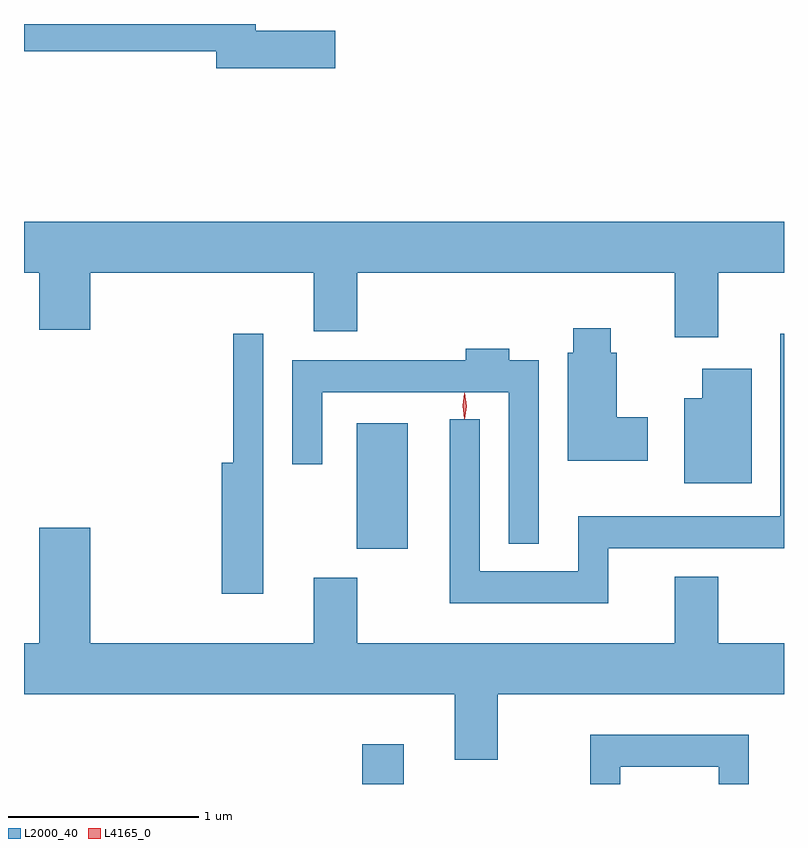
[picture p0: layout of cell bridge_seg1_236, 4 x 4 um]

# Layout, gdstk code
import gdstk
lib = gdstk.Library(unit=1e-6, precision=1e-09)
def R(c, l, rs):  # rectangles x0, y0, x1, y1
    for r in rs: c.add(gdstk.rectangle(r[:2], r[2:], *l))
def P(c, l, *ps):  # polygons
    for p in ps: c.add(gdstk.Polygon(p, *l))
L2000_40 = (2000, 40)
L4165_0 = (4165, 0)

bridge_seg1_236 = lib.new_cell('bridge_seg1_236')
R(bridge_seg1_236, L2000_40, [(836.156,896.884,836.374,897.094), (836.126,898.121,836.394,898.784)])
P(bridge_seg1_236, L2000_40, [(836.014,900.849),(835.594,900.849),(835.594,900.884),(834.375,900.884),(834.375,900.741),(835.386,900.741),(835.386,900.651),(836.014,900.651)],
  [(838.029,899.576),(838.375,899.576),(838.375,899.844),(834.375,899.844),(834.375,899.576),(834.456,899.576),(834.456,899.276),(834.724,899.276),(834.724,899.576),(835.901,899.576),(835.901,899.266),(836.129,899.266),(836.129,899.576),(837.801,899.576),(837.801,899.236),(838.029,899.236)],
  [(837.659,898.814),(837.494,898.814),(837.494,899.154),(837.464,899.154),(837.464,899.284),(837.266,899.284),(837.266,899.154),(837.236,899.154),(837.236,898.586),(837.659,898.586)],
  [(837.449,898.126),(838.375,898.126),(838.375,899.253),(838.356,899.253),(838.356,898.294),(837.291,898.294),(837.291,898.004),(836.774,898.004),(836.774,898.803),(836.616,898.803),(836.616,897.836),(837.449,897.836)],
  [(835.634,899.253),(835.476,899.253),(835.476,898.574),(835.416,898.574),(835.416,897.886),(835.634,897.886)],
  [(837.084,899.114),(836.929,899.114),(836.929,899.174),(836.701,899.174),(836.701,899.114),(835.786,899.114),(835.786,898.568),(835.944,898.568),(835.944,898.946),(836.926,898.946),(836.926,898.148),(837.084,898.148)],
  [(838.204,899.069),(837.946,899.069),(837.946,898.914),(837.851,898.914),(837.851,898.466),(838.204,898.466)],
  [(836.869,897.356),(838.375,897.356),(838.375,897.624),(838.029,897.624),(838.029,897.974),(837.801,897.974),(837.801,897.624),(836.129,897.624),(836.129,897.969),(835.901,897.969),(835.901,897.624),(834.724,897.624),(834.724,898.234),(834.456,898.234),(834.456,897.624),(834.375,897.624),(834.375,897.356),(836.641,897.356),(836.641,897.011),(836.869,897.011)],
  [(837.514,896.976),(838.031,896.976),(838.031,896.884),(838.189,896.884),(838.189,897.144),(837.356,897.144),(837.356,896.884),(837.514,896.884)])
P(bridge_seg1_236, L4165_0, [(836.694,898.804),(836.685,898.873),(836.694,898.942),(836.695,898.943),(836.695,898.942),(836.705,898.873),(836.695,898.804),(836.695,898.804)],
  [(836.693,898.807),(836.693,898.807),(836.683,898.874),(836.693,898.94),(836.693,898.94),(836.694,898.94),(836.703,898.874),(836.694,898.807)])

lib.write_gds('bridge_seg1_236.gds')
